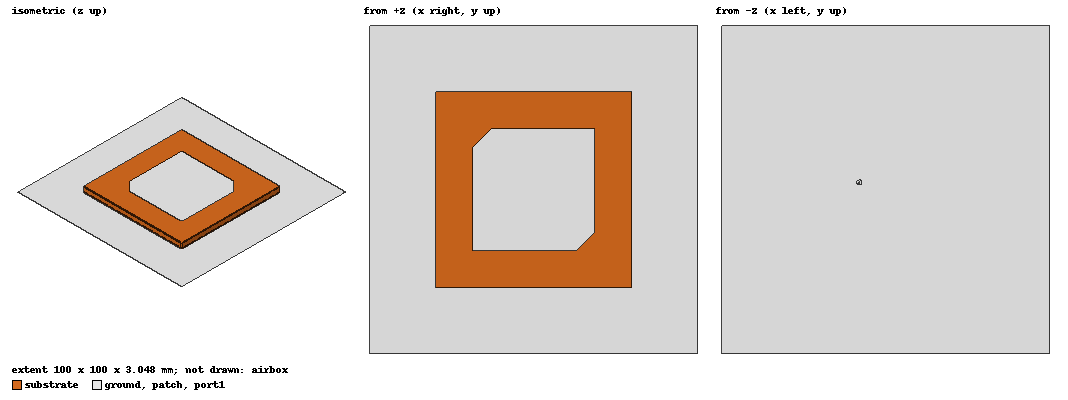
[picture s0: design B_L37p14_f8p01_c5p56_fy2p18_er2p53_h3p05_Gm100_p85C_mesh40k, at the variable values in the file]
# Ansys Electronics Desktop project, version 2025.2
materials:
  vacuum: permittivity=1
  substrate_design: permittivity=2.5309 permeability=1 dielectric_loss_tangent=0.0018
  copper: permeability=0.999991 conductivity=58000000
  pec: conductivity=1e+30

design B_L37p14_f8p01_c5p56_fy2p18_er2p53_h3p05_Gm100_p85C_mesh40k (HFSS, HFSS Modal Network, model units mm)
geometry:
  substrate [substrate_design] = box(corner=(-30mm, -30mm, 0mm), size=(60mm, 60mm, 3.048mm))
  ground = rectangle(corner=(-50mm, -50mm, 0mm), x_size=100mm, y_size=100mm)
  hole1 = circle(normal=Z, centre=(8.0081mm, 2.1822mm, 0mm), radius=0.8mm)
  ground.subtract(hole1)
  patch = polyline(z=3.048mm, xy in mm: (-13.01315, 18.56875) (18.56875, 18.56875) (18.56875, -13.01315) (13.01315, -18.56875) (-18.56875, -18.56875) (-18.56875, 13.01315) (-13.01315, 18.56875), closed, covered)
  pin1 [pec] = cylinder(axis=Z, base_centre=(8.0081mm, 2.1822mm, 0mm), radius=0.25mm, height=3.048mm)
  pin1_1 = pin1.copy()
  substrate.subtract(pin1_1)
  port1 = circle(normal=Z, centre=(8.0081mm, 2.1822mm, 0mm), radius=0.8mm)
  inner1 = circle(normal=Z, centre=(8.0081mm, 2.1822mm, 0mm), radius=0.25mm)
  port1.subtract(inner1)
  airbox [vacuum] = box(corner=(-80.906439mm, -80.906439mm, -30.906439mm), size=(161.81288mm, 161.81288mm, 64.860878mm))
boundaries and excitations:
  Cu_sheets: Finite Conductivity Objects=[patch, ground] UseMaterial Material=copper Roughness=0mm IsInternal
  Rad__MQTQ6D: Radiation Objects=airbox
  P1: Lumped Port Objects=port1 LumpedPortType=Modal Modes{Mode1{IntLine{(8.2581, 2.1822, 0) -> (8.8081, 2.1822, 0)} CharImp=Zpi RenormImp=50ohm}} Impedance=50ohm
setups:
  Setup1: HfssDriven Frequency=2.425GHz MaxDeltaS=1e-05 MaximumPasses=17 MinimumPasses=1 MinimumConvergedPasses=2 PercentRefinement=30 BasisOrder=1 PortAccuracy=2 DrivenSolverType="Direct Solver"
    sweep S: 2.2GHz to 2.65GHz, 901 points; Type=Interpolating InterpTolerance=0.5 InterpMaxSolns=250 InterpUsePortImped=false PassivityErrorTolerance=0.0001
    sweep FF: 2.365GHz to 2.485GHz step 0.005GHz; Type=Discrete SaveFields
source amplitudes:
  P1:1: 1W 0deg
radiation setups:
  ff: Infinite Sphere Theta=-180deg..180deg step 2deg Phi=0deg..90deg step 90deg
